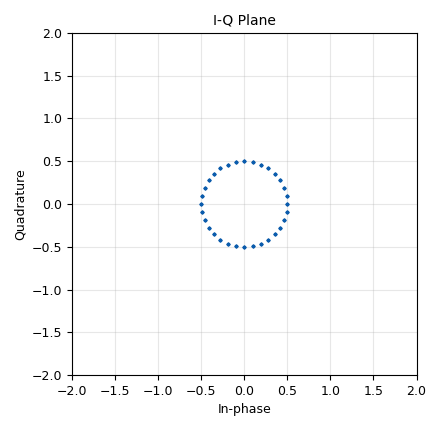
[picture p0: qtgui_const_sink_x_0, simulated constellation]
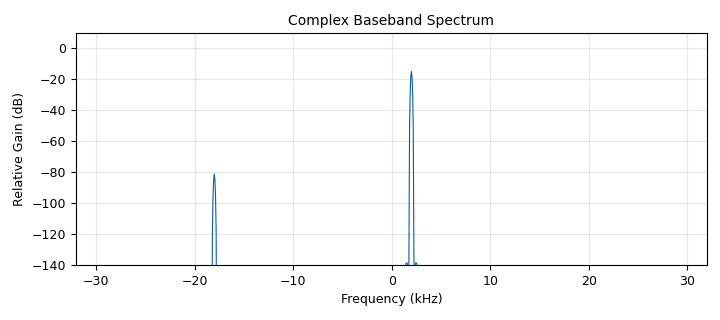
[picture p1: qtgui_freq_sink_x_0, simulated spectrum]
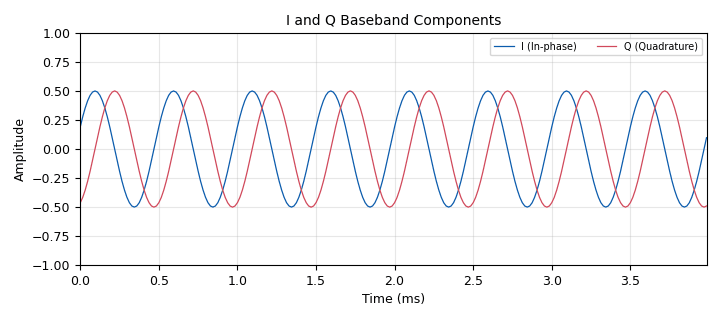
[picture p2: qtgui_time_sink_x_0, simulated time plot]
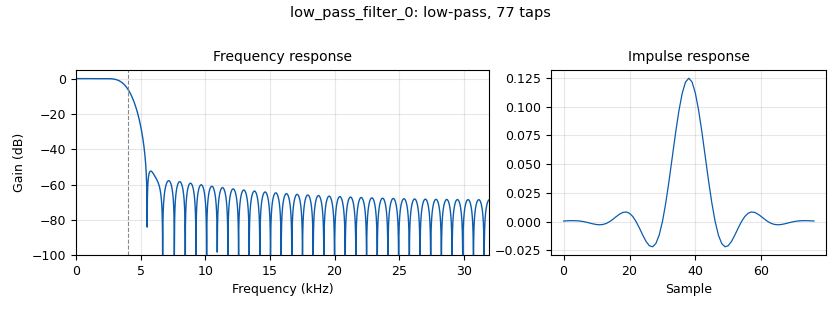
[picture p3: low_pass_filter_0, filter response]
options:
  parameters:
    author: Dhrubjun
    generate_options: qt_gui
    id: experiment3
    output_language: python
    title: Experiment 3
  states: {}

blocks:
- name: samp_rate
  id: variable
  parameters:
    value: '64000'
  states: {}
- name: analog_sig_source_x_0
  id: analog_sig_source_x
  parameters:
    amp: '1'
    freq: '10000'
    offset: '0'
    phase: '0'
    samp_rate: samp_rate
    type: float
    waveform: analog.GR_COS_WAVE
  states: {}
- name: analog_sig_source_x_0_0
  id: analog_sig_source_x
  parameters:
    amp: '1'
    freq: '8000'
    offset: '0'
    phase: '0'
    samp_rate: samp_rate
    type: float
    waveform: analog.GR_COS_WAVE
  states: {}
- name: analog_sig_source_x_0_1
  id: analog_sig_source_x
  parameters:
    amp: '-1'
    freq: '8000'
    offset: '0'
    phase: '0'
    samp_rate: samp_rate
    type: float
    waveform: analog.GR_SIN_WAVE
  states: {}
- name: blocks_float_to_complex_0
  id: blocks_float_to_complex
  parameters: {}
  states: {}
- name: blocks_multiply_xx_0
  id: blocks_multiply_xx
  parameters:
    type: float
  states: {}
- name: blocks_multiply_xx_0_0
  id: blocks_multiply_xx
  parameters:
    type: float
  states: {}
- name: low_pass_filter_0
  id: low_pass_filter
  parameters:
    cutoff_freq: '4000'
    decim: '1'
    gain: '1'
    samp_rate: samp_rate
    type: fir_filter_fff
    width: '2000'
    win: window.WIN_HAMMING
  states: {}
- name: low_pass_filter_0_0
  id: low_pass_filter
  parameters:
    cutoff_freq: '4000'
    decim: '1'
    gain: '1'
    samp_rate: samp_rate
    type: fir_filter_fff
    width: '2000'
    win: window.WIN_HAMMING
  states: {}
- name: qtgui_const_sink_x_0
  id: qtgui_const_sink_x
  parameters:
    gui_hint: 1,0,1,2
    name: I-Q Plane
    size: '256'
    type: complex
  states: {}
- name: qtgui_freq_sink_x_0
  id: qtgui_freq_sink_x
  parameters:
    bw: samp_rate
    fc: '0'
    fftsize: '1024'
    gui_hint: 0,1,1,1
    name: Complex Baseband Spectrum
    type: complex
  states: {}
- name: qtgui_time_sink_x_0
  id: qtgui_time_sink_x
  parameters:
    gui_hint: 0,0,1,1
    label1: I (In-phase)
    label2: Q (Quadrature)
    name: I and Q Baseband Components
    nconnections: '2'
    size: '256'
    srate: samp_rate
    type: float
  states: {}

connections:
- [analog_sig_source_x_0, '0', blocks_multiply_xx_0, '0']
- [analog_sig_source_x_0, '0', blocks_multiply_xx_0_0, '0']
- [analog_sig_source_x_0_0, '0', blocks_multiply_xx_0, '1']
- [analog_sig_source_x_0_1, '0', blocks_multiply_xx_0_0, '1']
- [blocks_float_to_complex_0, '0', qtgui_const_sink_x_0, '0']
- [blocks_float_to_complex_0, '0', qtgui_freq_sink_x_0, '0']
- [blocks_multiply_xx_0, '0', low_pass_filter_0, '0']
- [blocks_multiply_xx_0_0, '0', low_pass_filter_0_0, '0']
- [low_pass_filter_0, '0', blocks_float_to_complex_0, '0']
- [low_pass_filter_0, '0', qtgui_time_sink_x_0, '0']
- [low_pass_filter_0_0, '0', blocks_float_to_complex_0, '1']
- [low_pass_filter_0_0, '0', qtgui_time_sink_x_0, '1']

metadata:
  file_format: 1
  grc_version: 3.10.12.0
